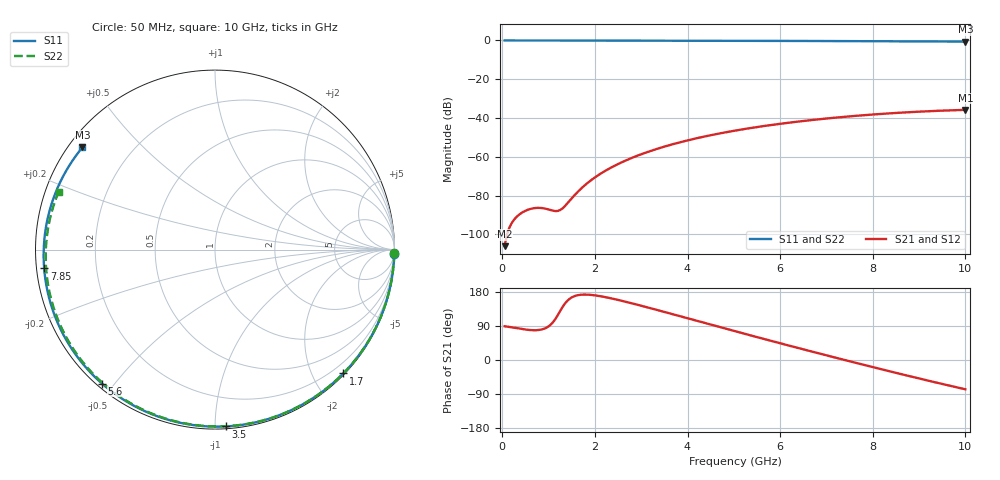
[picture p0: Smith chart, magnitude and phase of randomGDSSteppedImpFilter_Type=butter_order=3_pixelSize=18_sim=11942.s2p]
! freq	dB(S11)	phase(S11)	dB(S12)	phase(S12)
!  dB(S21)	phase(S21)	dB(S22)	phase(S22)
!S-par simulation data
#  GHz  S  DB  R 50
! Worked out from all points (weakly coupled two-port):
!   200 points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, 50 MHz to 10 GHz, reference 50 ohm
!   highest |S21| = -35.82 dB at 10 GHz (marker M1); lowest = -106.1 dB at 50 MHz (marker M2)
!   lowest |S11| = -0.6 dB at 10 GHz (marker M3), VSWR 28.72, Z = 1.94 + j17 ohm
!   |S11| at or under -10 dB: nowhere
!   |S22| runs from -0.6 to 0.0 dB; largest |S21 - S12| = 0
!   S11 on the Smith chart (normalised r, x): 50 MHz: 1, -89; 1.7 GHz: 0.02, -2.48; 3.5 GHz: 0.01, -1.06; 5.6 GHz: 0.01, -0.46; 7.85 GHz: 0.02, -0.05; 10 GHz: 0.04, +0.34
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0.05  -0.00 -1.3  -106.14 89.1  -106.14 89.1  -0.00 -1.1
0.4  -0.02 -10.5  -89.23 82.5  -89.23 82.5  -0.01 -8.7
0.75  -0.03 -19.7  -86.39 78.8  -86.39 78.8  -0.02 -16.3
1.15  -0.04 -30.0  -88.03 108.9  -88.03 108.9  -0.03 -25.0
1.55  -0.05 -40.2  -80.11 168.1  -80.11 168.1  -0.04 -33.5
1.7  -0.06 -44.0  -76.47 172.3  -76.47 172.3  -0.05 -36.7
1.75  -0.06 -45.2  -75.37 172.6  -75.37 172.6  -0.05 -37.7
2.05  -0.07 -52.6  -69.86 169.7  -69.86 169.7  -0.06 -44.0
2.45  -0.08 -62.3  -64.35 160.0  -64.35 160.0  -0.07 -52.3
2.9  -0.09 -72.8  -59.62 146.4  -59.62 146.4  -0.08 -61.5
3.4  -0.11 -84.2  -55.50 130.2  -55.50 130.2  -0.10 -71.5
3.5  -0.11 -86.4  -54.78 126.9  -54.78 126.9  -0.10 -73.4
4.25  -0.14 -102.7  -50.17 101.8  -50.17 101.8  -0.13 -88.0
5.05  -0.18 -119.2  -46.42 75.2  -46.42 75.2  -0.16 -103.2
5.6  -0.21 -130.2  -44.33 57.2  -44.33 57.2  -0.19 -113.4
6.15  -0.24 -140.9  -42.54 39.3  -42.54 39.3  -0.22 -123.6
6.7  -0.28 -151.5  -41.01 21.8  -41.01 21.8  -0.26 -133.8
7.3  -0.33 -163.1  -39.59 2.9  -39.59 2.9  -0.31 -144.9
7.85  -0.38 -173.7  -38.48 -14.1  -38.48 -14.1  -0.37 -155.4
8.35  -0.42 176.5  -37.63 -29.4  -37.63 -29.4  -0.42 -165.1
9.2  -0.51 159.3  -36.51 -54.6  -36.51 -54.6  -0.53 177.5
10  -0.61 142.4  -35.82 -77.3  -35.82 -77.3  -0.64 159.7
